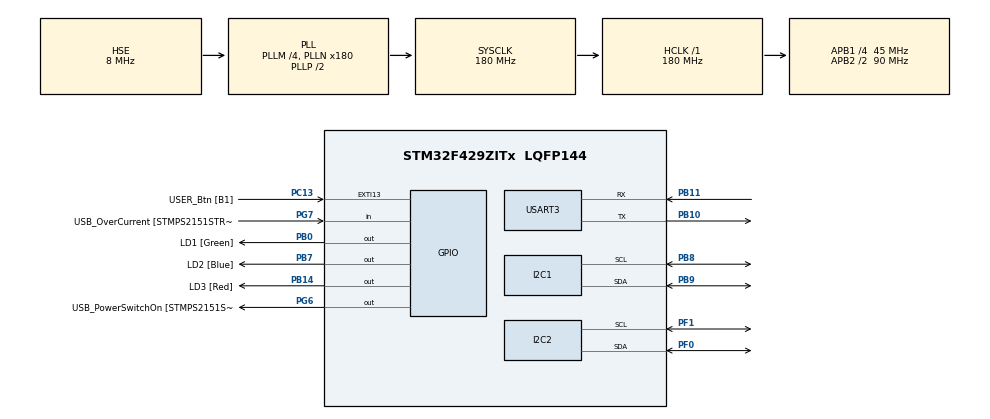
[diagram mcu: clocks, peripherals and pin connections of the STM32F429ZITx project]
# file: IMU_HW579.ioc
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Mcu.Family=STM32F4
Mcu.Name=STM32F429ZITx
Mcu.Package=LQFP144
NVIC.I2C1_ER_IRQn=true\:0\:0\:false\:false\:true\:true\:true\:true
NVIC.I2C1_EV_IRQn=true\:0\:0\:false\:false\:true\:true\:true\:true
NVIC.I2C2_ER_IRQn=true\:0\:0\:false\:false\:true\:true\:true\:true
NVIC.I2C2_EV_IRQn=true\:0\:0\:false\:false\:true\:true\:true\:true
NVIC.PriorityGroup=NVIC_PRIORITYGROUP_4
NVIC.USART3_IRQn=true\:0\:0\:false\:false\:true\:true\:true\:true
PA1.GPIO_Label=RMII_REF_CLK [LAN8742A-CZ-TR_REFCLK0]
PA1.Signal=ETH_REF_CLK
PA10.GPIO_Label=USB_ID
PA10.Signal=USB_OTG_FS_ID
PA11.GPIO_Label=USB_DM
PA11.Signal=USB_OTG_FS_DM
PA12.GPIO_Label=USB_DP
PA12.Signal=USB_OTG_FS_DP
PA13.GPIO_Label=TMS
PA13.Mode=Serial_Wire
PA13.Signal=SYS_JTMS-SWDIO
PA14.GPIO_Label=TCK
PA14.Mode=Serial_Wire
PA14.Signal=SYS_JTCK-SWCLK
PA2.GPIO_Label=RMII_MDIO [LAN8742A-CZ-TR_MDIO]
PA2.Signal=ETH_MDIO
PA7.GPIO_Label=RMII_CRS_DV [LAN8742A-CZ-TR_CRS_DV]
PA7.Signal=ETH_CRS_DV
PA8.GPIO_Label=USB_SOF [TP1]
PA8.Signal=USB_OTG_FS_SOF
PA9.GPIO_Label=USB_VBUS
PA9.Signal=USB_OTG_FS_VBUS
PB0.GPIO_Label=LD1 [Green]
PB0.Signal=GPIO_Output
PB10.Mode=Asynchronous
PB10.Signal=USART3_TX
PB11.Mode=Asynchronous
PB11.Signal=USART3_RX
PB13.GPIO_Label=RMII_TXD1 [LAN8742A-CZ-TR_TXD1]
PB13.Signal=ETH_TXD1
PB14.GPIO_Label=LD3 [Red]
PB14.Signal=GPIO_Output
PB7.GPIO_Label=LD2 [Blue]
PB7.Signal=GPIO_Output
PB8.Mode=I2C
PB8.Signal=I2C1_SCL
PB9.Mode=I2C
PB9.Signal=I2C1_SDA
PC1.GPIO_Label=RMII_MDC [LAN8742A-CZ-TR_MDC]
PC1.Signal=ETH_MDC
PC13.GPIO_Label=USER_Btn [B1]
PC13.Signal=GPXTI13
PC14/OSC32_IN.Mode=LSE-External-Oscillator
PC14/OSC32_IN.Signal=RCC_OSC32_IN
PC15/OSC32_OUT.Mode=LSE-External-Oscillator
PC15/OSC32_OUT.Signal=RCC_OSC32_OUT
PC4.GPIO_Label=RMII_RXD0 [LAN8742A-CZ-TR_RXD0]
PC4.Signal=ETH_RXD0
PC5.GPIO_Label=RMII_RXD1 [LAN8742A-CZ-TR_RXD1]
PC5.Signal=ETH_RXD1
PF0.Mode=I2C
PF0.Signal=I2C2_SDA
PF1.Mode=I2C
PF1.Signal=I2C2_SCL
PG11.GPIO_Label=RMII_TX_EN [LAN8742A-CZ-TR_TXEN]
PG11.Signal=ETH_TX_EN
PG13.GPIO_Label=RMII_TXD0 [LAN8742A-CZ-TR_TXD0]
PG13.Signal=ETH_TXD0
PG6.GPIO_Label=USB_PowerSwitchOn [STMPS2151STR_EN]
PG6.Signal=GPIO_Output
PG7.GPIO_Label=USB_OverCurrent [STMPS2151STR_FAULT]
PG7.Signal=GPIO_Input
PH0/OSC_IN.GPIO_Label=MCO [STM32F103CBT6_PA8]
PH0/OSC_IN.Mode=HSE-External-Clock-Source
PH0/OSC_IN.Signal=RCC_OSC_IN
PH1/OSC_OUT.Mode=HSE-External-Clock-Source
PH1/OSC_OUT.Signal=RCC_OSC_OUT
ProjectManager.HeapSize=0x200
ProjectManager.StackSize=0x400
ProjectManager.TargetToolchain=STM32CubeIDE
RCC.48MHZClocksFreq_Value=90000000
RCC.AHBFreq_Value=180000000
RCC.APB1CLKDivider=RCC_HCLK_DIV4
RCC.APB1Freq_Value=45000000
RCC.APB1TimFreq_Value=90000000
RCC.APB2CLKDivider=RCC_HCLK_DIV2
RCC.APB2Freq_Value=90000000
RCC.APB2TimFreq_Value=180000000
RCC.CortexFreq_Value=180000000
RCC.HCLKFreq_Value=180000000
RCC.HSE_VALUE=8000000
RCC.HSI_VALUE=16000000
RCC.PLLM=4
RCC.PLLMUL=RCC_PLL_MUL9
RCC.PLLN=180
RCC.PLLSourceVirtual=RCC_PLLSOURCE_HSE
RCC.PRESCALERUSB=RCC_USBCLKSOURCE_PLL_DIV1_5
RCC.SYSCLKFreq_VALUE=180000000
RCC.SYSCLKSource=RCC_SYSCLKSOURCE_PLLCLK
RCC.SYSCLKSourceVirtual=RCC_SYSCLKSOURCE_PLLCLK
RCC.USBFreq_Value=48000000
RCC.VCOOutputFreq_Value=360000000
USART3.VirtualMode=VM_ASYNC
board=NUCLEO-F429ZI

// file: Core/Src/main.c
/* USER CODE BEGIN Header */
/**
  ******************************************************************************
  * @file           : main.c
  * @brief          : Main program body
  ******************************************************************************
  * @attention
  *
  * Copyright (c) 2022 STMicroelectronics.
  * All rights reserved.
  *
  * This software is licensed under terms that can be found in the LICENSE file
  * in the root directory of this software component.
  * If no LICENSE file comes with this software, it is provided AS-IS.
  *
  ******************************************************************************
  */
/* USER CODE END Header */
#include "main.h"
#include "i2c.h"
#include "usart.h"
#include "gpio.h"

/* USER CODE BEGIN Includes */
#include "stdio.h"
#include "ITG3205.h"
#include "ADXL345.h"
#include "HMC5883L.h"
#include "HW_579.h"
/* USER CODE END Includes */

/* USER CODE BEGIN PV */
extern ITG3205 GYRO;
extern ADXL345 ACCEL;
extern HMC5883L MAGNETO;
extern HW579 hw579;
/* USER CODE END PV */

void SystemClock_Config(void);
/* USER CODE BEGIN PFP */
int _write(int file, char *p, int len)
{
	if(HAL_UART_Transmit(&huart3, (uint8_t *)p, len, 10) == HAL_OK) return len;
	else return 0;
}
/* USER CODE END PFP */

int main(void)
{

  /* MCU Configuration--------------------------------------------------------*/

  /* Reset of all peripherals, Initializes the Flash interface and the Systick. */
  HAL_Init();

  /* Configure the system clock */
  SystemClock_Config();

  /* Initialize all configured peripherals */
  MX_GPIO_Init();
  MX_I2C1_Init();
  MX_USART3_UART_Init();
  MX_I2C2_Init();
  /* USER CODE BEGIN 2 */
  Gyro_Init(&GYRO);
  Accel_Init(&ACCEL);
  Magneto_Init(&MAGNETO, 1.3);

  getI2C_Address(&hi2c1, &hw579);

  /* USER CODE END 2 */

  /* Infinite loop */
  while (1)
  {
	  //Read_Gyro(&GYRO);
	  Read_Gyro_Temperature(&GYRO);
	  Read_Accel(&ACCEL);
	  Read_Magneto(&MAGNETO);
	  Get_Heading_Magneto(&MAGNETO);

	  //printf("%8.2f  %8.2d %8.2d %8.2d\r\n", GYRO.gyro_Temp, ACCEL.raw_accel_X, ACCEL.raw_accel_Y, ACCEL.raw_accel_Z);
	  //printf("%8.2f  %8.2d %8.2d %8.2d\r\n", GYRO.gyro_Temp, ACCEL.raw_accel_X, ACCEL.raw_accel_Y, ACCEL.raw_accel_Z);
	  //printf("%8.2f  %8.2d %8.2d %8.2d\r\n", GYRO.gyro_Temp, MAGNETO.XAxis, MAGNETO.YAxis, MAGNETO.ZAxis);
	  printf("%8.2f %8.2f\r\n", MAGNETO.heading, MAGNETO.headingDegrees);
	  //printf("%8.2f %8.2f %8.2f\r\n", GYRO.gyro_X, GYRO.gyro_Y, GYRO.gyro_Z);
	  HAL_Delay(100);
  }
}

void SystemClock_Config(void)
{
  RCC_OscInitTypeDef RCC_OscInitStruct = {0};
  RCC_ClkInitTypeDef RCC_ClkInitStruct = {0};

  /** Configure the main internal regulator output voltage
  */
  __HAL_RCC_PWR_CLK_ENABLE();
  __HAL_PWR_VOLTAGESCALING_CONFIG(PWR_REGULATOR_VOLTAGE_SCALE1);

  /** Initializes the RCC Oscillators according to the specified parameters
  * in the RCC_OscInitTypeDef structure.
  */
  RCC_OscInitStruct.OscillatorType = RCC_OSCILLATORTYPE_HSE;
  RCC_OscInitStruct.HSEState = RCC_HSE_BYPASS;
  RCC_OscInitStruct.PLL.PLLState = RCC_PLL_ON;
  RCC_OscInitStruct.PLL.PLLSource = RCC_PLLSOURCE_HSE;
  RCC_OscInitStruct.PLL.PLLM = 4;
  RCC_OscInitStruct.PLL.PLLN = 180;
  RCC_OscInitStruct.PLL.PLLP = RCC_PLLP_DIV2;
  RCC_OscInitStruct.PLL.PLLQ = 4;
  if (HAL_RCC_OscConfig(&RCC_OscInitStruct) != HAL_OK)
  {
    Error_Handler();
  }

  /** Activate the Over-Drive mode
  */
  if (HAL_PWREx_EnableOverDrive() != HAL_OK)
  {
    Error_Handler();
  }

  /** Initializes the CPU, AHB and APB buses clocks
  */
  RCC_ClkInitStruct.ClockType = RCC_CLOCKTYPE_HCLK|RCC_CLOCKTYPE_SYSCLK
                              |RCC_CLOCKTYPE_PCLK1|RCC_CLOCKTYPE_PCLK2;
  RCC_ClkInitStruct.SYSCLKSource = RCC_SYSCLKSOURCE_PLLCLK;
  RCC_ClkInitStruct.AHBCLKDivider = RCC_SYSCLK_DIV1;
  RCC_ClkInitStruct.APB1CLKDivider = RCC_HCLK_DIV4;
  RCC_ClkInitStruct.APB2CLKDivider = RCC_HCLK_DIV2;

  if (HAL_RCC_ClockConfig(&RCC_ClkInitStruct, FLASH_LATENCY_5) != HAL_OK)
  {
    Error_Handler();
  }
}

void Error_Handler(void)
{
  __disable_irq();
  while (1)
  {
  }
}
